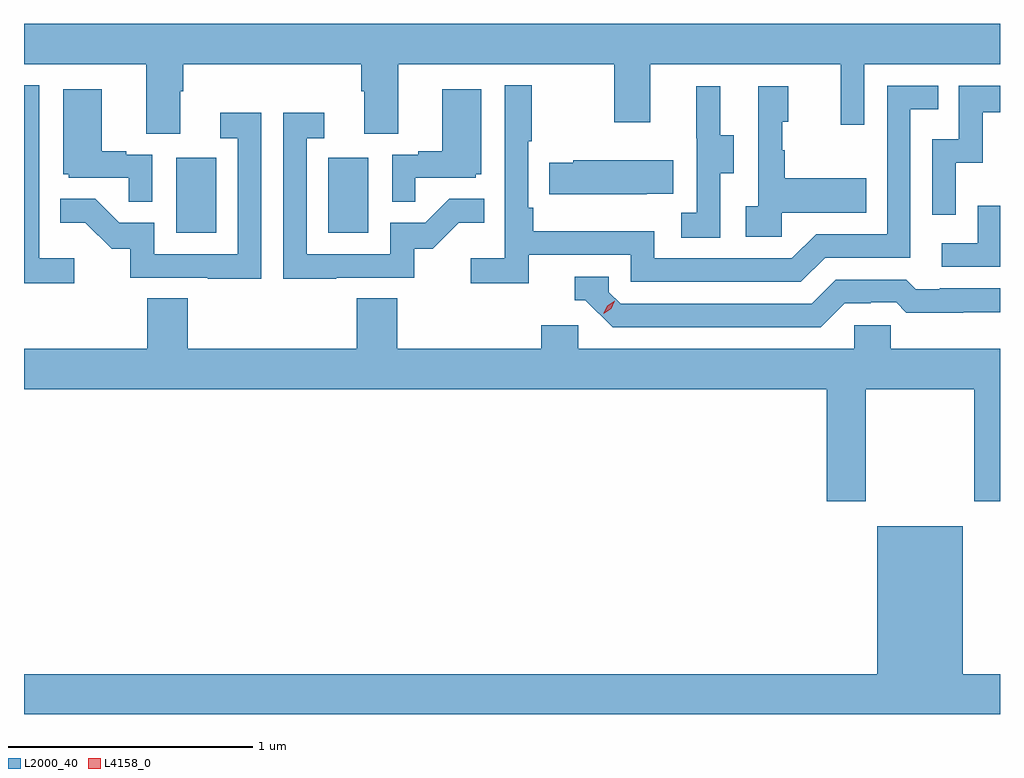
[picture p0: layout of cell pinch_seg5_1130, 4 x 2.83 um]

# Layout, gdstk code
import gdstk
lib = gdstk.Library(unit=1e-6, precision=1e-09)
def R(c, l, rs):  # rectangles x0, y0, x1, y1
    for r in rs: c.add(gdstk.rectangle(r[:2], r[2:], *l))
def P(c, l, *ps):  # polygons
    for p in ps: c.add(gdstk.Polygon(p, *l))
L2000_40 = (2000, 40)
L4158_0 = (4158, 0)

pinch_seg5_1130 = lib.new_cell('pinch_seg5_1130')
R(pinch_seg5_1130, L2000_40, [(868.436,837.42,868.6,837.727), (869.06,837.42,869.224,837.727)])
P(pinch_seg5_1130, L2000_40, [(868.453,838),(868.466,838),(868.466,838.112),(869.195,838.112),(869.195,838),(869.207,838),(869.207,837.826),(869.347,837.826),(869.347,838.112),(870.232,838.112),(870.232,837.873),(870.379,837.873),(870.379,838.112),(871.16,838.112),(871.16,837.864),(871.257,837.864),(871.257,838.112),(871.813,838.112),(871.813,838.276),(867.813,838.276),(867.813,838.112),(868.313,838.112),(868.313,837.826),(868.453,837.826)],
  [(868.018,837.316),(867.876,837.316),(867.876,838.024),(867.813,838.024),(867.813,837.214),(868.018,837.214)],
  [(869.882,837.33),(870.3,837.33),(870.3,837.219),(870.997,837.219),(871.096,837.318),(871.446,837.318),(871.446,837.927),(871.559,837.927),(871.559,838.023),(871.35,838.023),(871.35,837.414),(871.059,837.414),(870.96,837.315),(870.396,837.315),(870.396,837.427),(869.9,837.427),(869.9,837.523),(869.88,837.523),(869.88,837.796),(869.893,837.796),(869.893,838.024),(869.784,838.024),(869.784,837.316),(869.643,837.316),(869.643,837.214),(869.882,837.214)],
  [(871.632,837.707),(871.742,837.707),(871.742,837.915),(871.813,837.915),(871.813,838.023),(871.644,838.023),(871.644,837.804),(871.536,837.804),(871.536,837.495),(871.632,837.495)],
  [(870.666,837.664),(870.721,837.664),(870.721,837.819),(870.667,837.819),(870.667,838.021),(870.569,838.021),(870.569,837.807),(870.57,837.807),(870.57,837.503),(870.507,837.503),(870.507,837.4),(870.666,837.4)],
  [(870.918,837.503),(871.265,837.503),(871.265,837.643),(870.931,837.643),(870.931,837.758),(870.921,837.758),(870.921,837.876),(870.946,837.876),(870.946,838.021),(870.822,838.021),(870.822,837.53),(870.771,837.53),(870.771,837.405),(870.918,837.405)],
  [(869.417,837.645),(869.664,837.645),(869.664,837.66),(869.686,837.66),(869.686,838.009),(869.528,838.009),(869.528,837.754),(869.429,837.754),(869.429,837.741),(869.322,837.741),(869.322,837.547),(869.417,837.547)],
  [(868.338,837.741),(868.232,837.741),(868.232,837.754),(868.132,837.754),(868.132,838.009),(867.974,838.009),(867.974,837.66),(867.996,837.66),(867.996,837.645),(868.243,837.645),(868.243,837.547),(868.338,837.547)],
  [(869.093,837.237),(869.412,837.237),(869.412,837.354),(869.488,837.354),(869.595,837.461),(869.699,837.461),(869.699,837.56),(869.555,837.56),(869.457,837.462),(869.313,837.462),(869.313,837.333),(868.971,837.333),(868.971,837.807),(869.044,837.807),(869.044,837.913),(868.875,837.913),(868.875,837.232),(869.093,837.232)],
  [(868.785,837.913),(868.617,837.913),(868.617,837.807),(868.689,837.807),(868.689,837.333),(868.347,837.333),(868.347,837.462),(868.203,837.462),(868.105,837.56),(867.961,837.56),(867.961,837.461),(868.065,837.461),(868.172,837.354),(868.249,837.354),(868.249,837.237),(868.567,837.237),(868.567,837.232),(868.785,837.232)],
  [(870.365,837.581),(870.473,837.581),(870.473,837.718),(870.063,837.718),(870.063,837.708),(869.965,837.708),(869.965,837.578),(870.365,837.578)],
  [(871.813,837.532),(871.722,837.532),(871.722,837.378),(871.575,837.378),(871.575,837.282),(871.813,837.282)],
  [(871.177,837.132),(871.284,837.132),(871.284,837.135),(871.387,837.135),(871.429,837.093),(871.662,837.093),(871.662,837.095),(871.813,837.095),(871.813,837.192),(871.567,837.192),(871.567,837.189),(871.468,837.189),(871.429,837.228),(871.14,837.228),(871.041,837.129),(870.258,837.129),(870.21,837.177),(870.21,837.24),(870.071,837.24),(870.071,837.144),(870.114,837.144),(870.225,837.033),(871.078,837.033)],
  [(869.933,837.042),(869.933,836.944),(869.342,836.944),(869.342,837.152),(869.177,837.152),(869.177,836.944),(868.484,836.944),(868.484,837.152),(868.319,837.152),(868.319,836.944),(867.813,836.944),(867.813,836.78),(871.103,836.78),(871.103,836.319),(871.263,836.319),(871.263,836.78),(871.708,836.78),(871.708,836.319),(871.813,836.319),(871.813,836.944),(871.365,836.944),(871.365,837.042),(871.215,837.042),(871.215,836.944),(870.084,836.944),(870.084,837.042)],
  [(871.813,835.612),(871.66,835.612),(871.66,836.218),(871.31,836.218),(871.31,835.612),(867.813,835.612),(867.813,835.448),(871.813,835.448)])
P(pinch_seg5_1130, L4158_0, [(870.188,837.089),(870.188,837.09),(870.204,837.122),(870.235,837.142),(870.235,837.142),(870.235,837.142),(870.219,837.109),(870.189,837.089)])

lib.write_gds('pinch_seg5_1130.gds')
